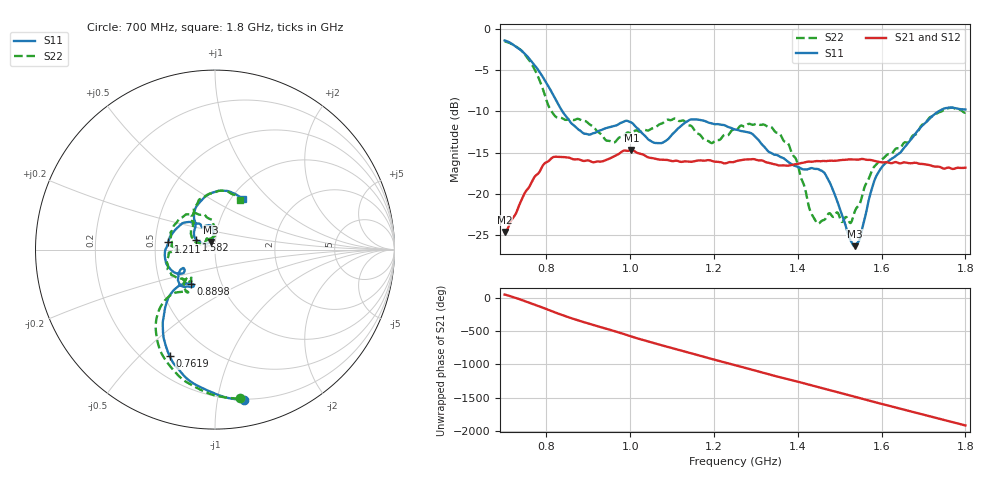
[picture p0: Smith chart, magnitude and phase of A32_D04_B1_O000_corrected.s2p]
! Created with skrf 1.9.0 (http://scikit-rf.org).
# Hz S RI R 50.0
!freq ReS11 ImS11 ReS21 ImS21 ReS12 ImS12 ReS22 ImS22
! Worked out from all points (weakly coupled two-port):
!   1601 points, 700 MHz to 1.8 GHz, reference 50 ohm
!   highest |S21| = -14.70 dB at 1.002 GHz (marker M1); lowest = -24.7 dB at 700 MHz (marker M2)
!   lowest |S11| = -26.4 dB at 1.535 GHz (marker M3), VSWR 1.10, Z = 47.6 + j4.01 ohm
!   |S11| at or under -10 dB: 837.8 MHz to 1.736 GHz (898.4 MHz wide, 69.8 % of centre)
!   |S22| runs from -23.6 to -1.5 dB; largest |S21 - S12| = 0.0034
!   S11 on the Smith chart (normalised r, x): 700 MHz: 0.20, -1.19; 761.9 MHz: 0.30, -0.62; 889.8 MHz: 0.72, -0.29; 1.211 GHz: 0.58, +0.06; 1.582 GHz: 0.81, +0.09; 1.8 GHz: 1.13, +0.72
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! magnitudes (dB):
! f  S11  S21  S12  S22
! 700 MHz  -1.4  -24.7  -24.4  -1.5
! 761.9 MHz  -3.8  -18.9  -18.8  -4.0
! 818.2 MHz  -8.2  -15.5  -15.6  -10.5
! 883.6 MHz  -12.5  -16.0  -15.8  -11.1
! 889.8 MHz  -12.7  -16.0  -16.0  -11.2
! 957.1 MHz  -11.8  -15.6  -15.6  -13.7
! 1.002 GHz  -11.4  -14.7  -14.8  -12.7
! 1.067 GHz  -13.9  -15.8  -15.8  -11.7
! 1.143 GHz  -11.0  -16.1  -16.1  -11.7
! 1.211 GHz  -11.6  -16.1  -16.1  -13.5
! 1.25 GHz  -12.2  -16.1  -16.0  -12.3
! 1.357 GHz  -15.5  -16.6  -16.5  -12.7
! 1.396 GHz  -16.7  -16.4  -16.4  -15.8
! 1.434 GHz  -16.9  -16.1  -16.1  -22.5
! 1.47 GHz  -18.1  -16.0  -16.0  -22.7
! 1.525 GHz  -25.6  -15.8  -15.8  -23.6
! 1.535 GHz  -26.4  -15.9  -15.9  -22.3
! 1.549 GHz  -25.3  -15.8  -15.8  -21.1
! 1.582 GHz  -18.5  -16.0  -16.0  -16.7
! 1.617 GHz  -16.0  -16.2  -16.2  -15.2
! 1.733 GHz  -10.1  -16.7  -16.7  -10.2
! 1.8 GHz  -9.8  -16.8  -16.8  -10.2
